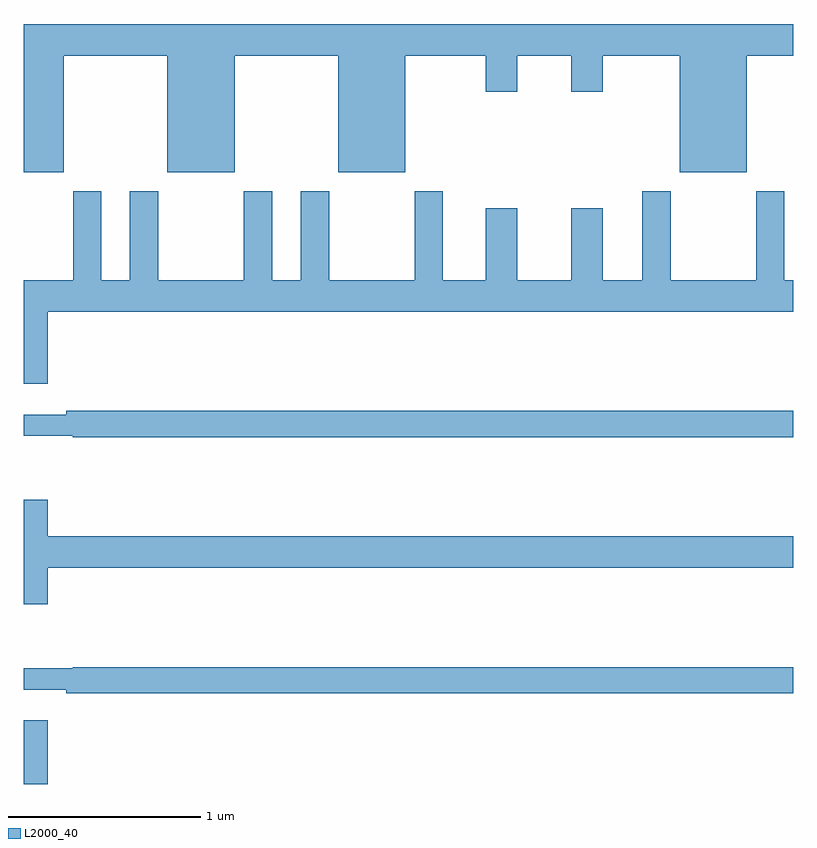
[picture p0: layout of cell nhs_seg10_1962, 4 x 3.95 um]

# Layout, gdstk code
import gdstk
lib = gdstk.Library(unit=1e-6, precision=1e-09)
def R(c, l, rs):  # rectangles x0, y0, x1, y1
    for r in rs: c.add(gdstk.rectangle(r[:2], r[2:], *l))
def P(c, l, *ps):  # polygons
    for p in ps: c.add(gdstk.Polygon(p, *l))
L2000_40 = (2000, 40)

nhs_seg10_1962 = lib.new_cell('nhs_seg10_1962')
R(nhs_seg10_1962, L2000_40, [(213,1324.5,213.124,1324.831)])
P(nhs_seg10_1962, L2000_40, [(213.208,1328.288),(213.746,1328.288),(213.746,1327.682),(214.096,1327.682),(214.096,1328.288),(214.634,1328.288),(214.634,1327.682),(214.984,1327.682),(214.984,1328.288),(215.402,1328.288),(215.402,1328.1),(215.566,1328.1),(215.566,1328.288),(215.846,1328.288),(215.846,1328.1),(216.01,1328.1),(216.01,1328.288),(216.41,1328.288),(216.41,1327.682),(216.76,1327.682),(216.76,1328.288),(217,1328.288),(217,1328.452),(213,1328.452),(213,1327.682),(213.208,1327.682)],
  [(217,1327.12),(216.955,1327.12),(216.955,1327.582),(216.808,1327.582),(216.808,1327.12),(216.363,1327.12),(216.363,1327.582),(216.215,1327.582),(216.215,1327.12),(216.01,1327.12),(216.01,1327.495),(215.846,1327.495),(215.846,1327.12),(215.566,1327.12),(215.566,1327.495),(215.402,1327.495),(215.402,1327.12),(215.179,1327.12),(215.179,1327.582),(215.032,1327.582),(215.032,1327.12),(214.587,1327.12),(214.587,1327.582),(214.439,1327.582),(214.439,1327.12),(214.291,1327.12),(214.291,1327.582),(214.144,1327.582),(214.144,1327.12),(213.699,1327.12),(213.699,1327.582),(213.551,1327.582),(213.551,1327.12),(213.403,1327.12),(213.403,1327.582),(213.256,1327.582),(213.256,1327.12),(213,1327.12),(213,1326.582),(213.124,1326.582),(213.124,1326.956),(217,1326.956)],
  [(217,1326.44),(213.22,1326.44),(213.22,1326.421),(213,1326.421),(213,1326.312),(213.255,1326.312),(213.255,1326.304),(217,1326.304)],
  [(213.124,1325.624),(217,1325.624),(217,1325.788),(213.124,1325.788),(213.124,1325.977),(213,1325.977),(213,1325.436),(213.124,1325.436)],
  [(217,1325.108),(213.255,1325.108),(213.255,1325.101),(213,1325.101),(213,1324.991),(213.22,1324.991),(213.22,1324.972),(217,1324.972)])

lib.write_gds('nhs_seg10_1962.gds')
